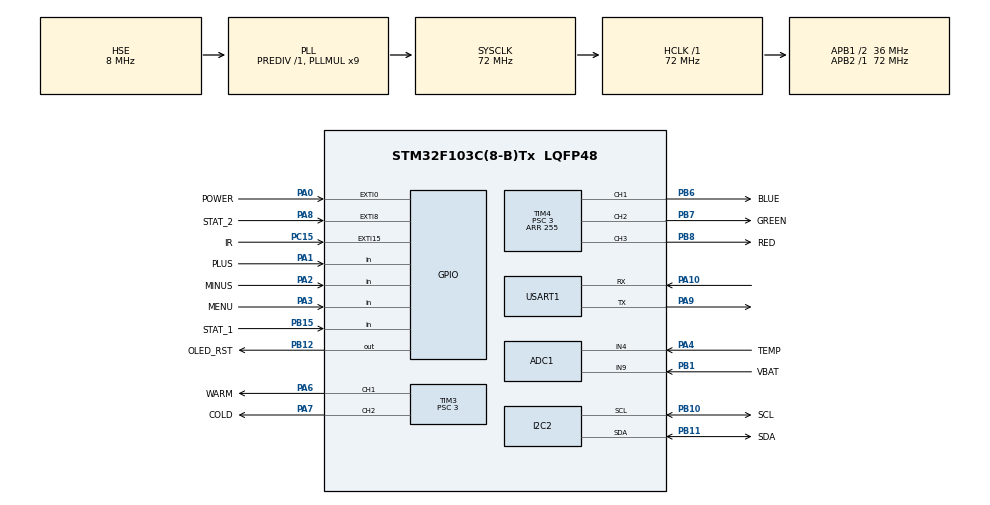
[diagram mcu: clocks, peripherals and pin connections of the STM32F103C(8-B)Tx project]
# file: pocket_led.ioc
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ADC1.Channel-0\#ChannelRegularConversion=ADC_CHANNEL_4
ADC1.Channel-1\#ChannelRegularConversion=ADC_CHANNEL_9
ADC1.DiscontinuousConvMode=ENABLE
ADC1.NbrOfConversion=2
ADC1.NbrOfConversionFlag=1
ADC1.Rank-0\#ChannelRegularConversion=1
ADC1.Rank-1\#ChannelRegularConversion=2
ADC1.SamplingTime-0\#ChannelRegularConversion=ADC_SAMPLETIME_13CYCLES_5
ADC1.SamplingTime-1\#ChannelRegularConversion=ADC_SAMPLETIME_13CYCLES_5
ADC1.master=1
FREERTOS.Queues01=irQueue,64,uint16_t,0,Dynamic,NULL,NULL;keyQueue,16,uint32_t,0,Dynamic,NULL,NULL
FREERTOS.Tasks01=defaultTask,-3,64,StartDefaultTask,Default,NULL,Dynamic,NULL,NULL;secnTask,-2,128,secn_task,Default,NULL,Dynamic,NULL,NULL;dispTask,2,256,dispaly_task,Default,NULL,Dynamic,NULL,NULL;batteryTask,-2,64,battery_task,Default,NULL,Dynamic,NULL,NULL
FREERTOS.Timers01=keyTimer,key_timer_callback,osTimerPeriodic,Default,NULL,Dynamic,NULL;irTimer,ir_timer_callback,osTimerPeriodic,Default,NULL,Dynamic,NULL;goSleepTimer,go_sleep_callback,osTimerOnce,Default,NULL,Dynamic,NULL
FREERTOS.configMINIMAL_STACK_SIZE=64
FREERTOS.configTIMER_TASK_STACK_DEPTH=64
FREERTOS.configTOTAL_HEAP_SIZE=10240
FREERTOS.configUSE_TICKLESS_IDLE=0
FREERTOS.configUSE_TIMERS=1
I2C2.I2C_Mode=I2C_Fast
Mcu.Family=STM32F1
Mcu.Name=STM32F103C(8-B)Tx
Mcu.Package=LQFP48
NVIC.EXTI0_IRQn=true\:5\:0\:false\:false\:true\:true\:true
NVIC.EXTI15_10_IRQn=true\:5\:0\:false\:false\:true\:true\:true
NVIC.PriorityGroup=NVIC_PRIORITYGROUP_4
NVIC.TIM1_UP_IRQn=true\:0\:0\:false\:false\:true\:false\:false
NVIC.TimeBase=TIM1_UP_IRQn
NVIC.TimeBaseIP=TIM1
PA0-WKUP.GPIO_Label=POWER
PA0-WKUP.GPIO_ModeDefaultEXTI=GPIO_MODE_IT_FALLING
PA0-WKUP.Signal=GPXTI0
PA1.GPIO_Label=PLUS
PA1.Signal=GPIO_Input
PA10.Mode=Asynchronous
PA10.Signal=USART1_RX
PA13.Mode=Serial_Wire
PA13.Signal=SYS_JTMS-SWDIO
PA14.Mode=Serial_Wire
PA14.Signal=SYS_JTCK-SWCLK
PA2.GPIO_Label=MINUS
PA2.Signal=GPIO_Input
PA3.GPIO_Label=MENU
PA3.Signal=GPIO_Input
PA4.GPIO_Label=TEMP
PA4.Signal=ADCx_IN4
PA6.GPIO_Label=WARM
PA6.Signal=S_TIM3_CH1
PA7.GPIO_Label=COLD
PA7.Signal=S_TIM3_CH2
PA8.GPIO_Label=STAT_2
PA8.GPIO_ModeDefaultEXTI=GPIO_MODE_IT_FALLING
PA8.Signal=GPXTI8
PA9.Mode=Asynchronous
PA9.Signal=USART1_TX
PB1.GPIO_Label=VBAT
PB1.Signal=ADCx_IN9
PB10.GPIO_Label=SCL
PB10.Mode=I2C
PB10.Signal=I2C2_SCL
PB11.GPIO_Label=SDA
PB11.Mode=I2C
PB11.Signal=I2C2_SDA
PB12.GPIO_Label=OLED_RST
PB12.GPIO_Speed=GPIO_SPEED_FREQ_LOW
PB12.PinState=GPIO_PIN_SET
PB12.Signal=GPIO_Output
PB15.GPIO_Label=STAT_1
PB15.Signal=GPIO_Input
PB6.GPIO_Label=BLUE
PB6.Signal=S_TIM4_CH1
PB7.GPIO_Label=GREEN
PB7.Signal=S_TIM4_CH2
PB8.GPIO_Label=RED
PB8.Signal=S_TIM4_CH3
PC15-OSC32_OUT.GPIO_Label=IR
PC15-OSC32_OUT.GPIO_ModeDefaultEXTI=GPIO_MODE_IT_RISING_FALLING
PC15-OSC32_OUT.Signal=GPXTI15
PD0-OSC_IN.Mode=HSE-External-Oscillator
PD0-OSC_IN.Signal=RCC_OSC_IN
PD1-OSC_OUT.Mode=HSE-External-Oscillator
PD1-OSC_OUT.Signal=RCC_OSC_OUT
ProjectManager.HeapSize=0x200
ProjectManager.StackSize=0x400
ProjectManager.TargetToolchain=MDK-ARM V5
RCC.ADCPresc=RCC_ADCPCLK2_DIV6
RCC.AHBFreq_Value=72000000
RCC.APB1CLKDivider=RCC_HCLK_DIV2
RCC.APB1Freq_Value=36000000
RCC.APB1TimFreq_Value=72000000
RCC.APB2Freq_Value=72000000
RCC.APB2TimFreq_Value=72000000
RCC.HCLKFreq_Value=72000000
RCC.PLLMUL=RCC_PLL_MUL9
RCC.PLLSourceVirtual=RCC_PLLSOURCE_HSE
RCC.SYSCLKFreq_VALUE=72000000
RCC.SYSCLKSource=RCC_SYSCLKSOURCE_PLLCLK
RCC.USBFreq_Value=72000000
SH.ADCx_IN4.0=ADC1_IN4,IN4
SH.ADCx_IN9.0=ADC1_IN9,IN9
SH.S_TIM3_CH1.0=TIM3_CH1,PWM Generation1 CH1
SH.S_TIM3_CH2.0=TIM3_CH2,PWM Generation2 CH2
SH.S_TIM4_CH1.0=TIM4_CH1,PWM Generation1 CH1
SH.S_TIM4_CH2.0=TIM4_CH2,PWM Generation2 CH2
SH.S_TIM4_CH3.0=TIM4_CH3,PWM Generation3 CH3
TIM2.Period=65535
TIM2.Prescaler=71
TIM3.Channel-PWM\ Generation1\ CH1=TIM_CHANNEL_1
TIM3.Channel-PWM\ Generation2\ CH2=TIM_CHANNEL_2
TIM3.Period=255
TIM3.Prescaler=3
TIM4.Channel-PWM\ Generation1\ CH1=TIM_CHANNEL_1
TIM4.Channel-PWM\ Generation2\ CH2=TIM_CHANNEL_2
TIM4.Channel-PWM\ Generation3\ CH3=TIM_CHANNEL_3
TIM4.Period=255
TIM4.Prescaler=3
USART1.VirtualMode=VM_ASYNC
VP_FREERTOS_VS_ENABLE.Mode=Enabled
VP_SYS_VS_tim1.Mode=TIM1
VP_TIM2_VS_ClockSourceINT.Mode=Internal
VP_TIM3_VS_ClockSourceINT.Mode=Internal
VP_TIM4_VS_ClockSourceINT.Mode=Internal
board=custom

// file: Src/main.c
/**
  ******************************************************************************
  * @file           : main.c
  * @brief          : Main program body
  ******************************************************************************
  * This notice applies to any and all portions of this file
  * that are not between comment pairs USER CODE BEGIN and
  * USER CODE END. Other portions of this file, whether
  * inserted by the user or by software development tools
  * are owned by their respective copyright owners.
  *
  * Copyright (c) 2020 STMicroelectronics International N.V.
  * All rights reserved.
  *
  * Redistribution and use in source and binary forms, with or without
  * modification, are permitted, provided that the following conditions are met:
  *
  * 1. Redistribution of source code must retain the above copyright notice,
  *    this list of conditions and the following disclaimer.
  * 2. Redistributions in binary form must reproduce the above copyright notice,
  *    this list of conditions and the following disclaimer in the documentation
  *    and/or other materials provided with the distribution.
  * 3. Neither the name of STMicroelectronics nor the names of other
  *    contributors to this software may be used to endorse or promote products
  *    derived from this software without specific written permission.
  * 4. This software, including modifications and/or derivative works of this
  *    software, must execute solely and exclusively on microcontroller or
  *    microprocessor devices manufactured by or for STMicroelectronics.
  * 5. Redistribution and use of this software other than as permitted under
  *    this license is void and will automatically terminate your rights under
  *    this license.
  *
  * THIS SOFTWARE IS PROVIDED BY STMICROELECTRONICS AND CONTRIBUTORS "AS IS"
  * AND ANY EXPRESS, IMPLIED OR STATUTORY WARRANTIES, INCLUDING, BUT NOT
  * LIMITED TO, THE IMPLIED WARRANTIES OF MERCHANTABILITY, FITNESS FOR A
  * PARTICULAR PURPOSE AND NON-INFRINGEMENT OF THIRD PARTY INTELLECTUAL PROPERTY
  * RIGHTS ARE DISCLAIMED TO THE FULLEST EXTENT PERMITTED BY LAW. IN NO EVENT
  * SHALL STMICROELECTRONICS OR CONTRIBUTORS BE LIABLE FOR ANY DIRECT, INDIRECT,
  * INCIDENTAL, SPECIAL, EXEMPLARY, OR CONSEQUENTIAL DAMAGES (INCLUDING, BUT NOT
  * LIMITED TO, PROCUREMENT OF SUBSTITUTE GOODS OR SERVICES; LOSS OF USE, DATA,
  * OR PROFITS; OR BUSINESS INTERRUPTION) HOWEVER CAUSED AND ON ANY THEORY OF
  * LIABILITY, WHETHER IN CONTRACT, STRICT LIABILITY, OR TORT (INCLUDING
  * NEGLIGENCE OR OTHERWISE) ARISING IN ANY WAY OUT OF THE USE OF THIS SOFTWARE,
  * EVEN IF ADVISED OF THE POSSIBILITY OF SUCH DAMAGE.
  *
  ******************************************************************************
  */
#include "main.h"
#include "stm32f1xx_hal.h"
#include "cmsis_os.h"
#include "adc.h"
#include "i2c.h"
#include "tim.h"
#include "usart.h"
#include "gpio.h"

/* USER CODE BEGIN Includes */
#include "includes.h"
/* USER CODE END Includes */

/* USER CODE BEGIN PV */
/* Private variables ---------------------------------------------------------*/

/* USER CODE END PV */

void SystemClock_Config(void);
void MX_FREERTOS_Init(void);

/* USER CODE BEGIN PFP */
/* Private function prototypes -----------------------------------------------*/

/* USER CODE END PFP */

int main(void)
{

  /* MCU Configuration----------------------------------------------------------*/

  /* Reset of all peripherals, Initializes the Flash interface and the Systick. */
  HAL_Init();

  /* Configure the system clock */
  SystemClock_Config();

  /* Initialize all configured peripherals */
  MX_GPIO_Init();
  MX_ADC1_Init();
  MX_TIM3_Init();
  MX_TIM4_Init();
  MX_I2C2_Init();
  MX_USART1_UART_Init();
  MX_TIM2_Init();
  /* USER CODE BEGIN 2 */
  sys_stop_mode_enable();
  /* USER CODE END 2 */

  /* Call init function for freertos objects (in freertos.c) */
  MX_FREERTOS_Init();

  /* Start scheduler */
  osKernelStart();

  /* We should never get here as control is now taken by the scheduler */

  /* Infinite loop */
  while (1)
  {

  }

}

void SystemClock_Config(void)
{

  RCC_OscInitTypeDef RCC_OscInitStruct;
  RCC_ClkInitTypeDef RCC_ClkInitStruct;
  RCC_PeriphCLKInitTypeDef PeriphClkInit;

    /**Initializes the CPU, AHB and APB busses clocks
    */
  RCC_OscInitStruct.OscillatorType = RCC_OSCILLATORTYPE_HSE;
  RCC_OscInitStruct.HSEState = RCC_HSE_ON;
  RCC_OscInitStruct.HSEPredivValue = RCC_HSE_PREDIV_DIV1;
  RCC_OscInitStruct.HSIState = RCC_HSI_ON;
  RCC_OscInitStruct.PLL.PLLState = RCC_PLL_ON;
  RCC_OscInitStruct.PLL.PLLSource = RCC_PLLSOURCE_HSE;
  RCC_OscInitStruct.PLL.PLLMUL = RCC_PLL_MUL9;
  if (HAL_RCC_OscConfig(&RCC_OscInitStruct) != HAL_OK)
  {
    _Error_Handler(__FILE__, __LINE__);
  }

    /**Initializes the CPU, AHB and APB busses clocks
    */
  RCC_ClkInitStruct.ClockType = RCC_CLOCKTYPE_HCLK|RCC_CLOCKTYPE_SYSCLK
                              |RCC_CLOCKTYPE_PCLK1|RCC_CLOCKTYPE_PCLK2;
  RCC_ClkInitStruct.SYSCLKSource = RCC_SYSCLKSOURCE_PLLCLK;
  RCC_ClkInitStruct.AHBCLKDivider = RCC_SYSCLK_DIV1;
  RCC_ClkInitStruct.APB1CLKDivider = RCC_HCLK_DIV2;
  RCC_ClkInitStruct.APB2CLKDivider = RCC_HCLK_DIV1;

  if (HAL_RCC_ClockConfig(&RCC_ClkInitStruct, FLASH_LATENCY_2) != HAL_OK)
  {
    _Error_Handler(__FILE__, __LINE__);
  }

  PeriphClkInit.PeriphClockSelection = RCC_PERIPHCLK_ADC;
  PeriphClkInit.AdcClockSelection = RCC_ADCPCLK2_DIV6;
  if (HAL_RCCEx_PeriphCLKConfig(&PeriphClkInit) != HAL_OK)
  {
    _Error_Handler(__FILE__, __LINE__);
  }

    /**Configure the Systick interrupt time
    */
  HAL_SYSTICK_Config(HAL_RCC_GetHCLKFreq()/1000);

    /**Configure the Systick
    */
  HAL_SYSTICK_CLKSourceConfig(SYSTICK_CLKSOURCE_HCLK);

  /* SysTick_IRQn interrupt configuration */
  HAL_NVIC_SetPriority(SysTick_IRQn, 15, 0);
}

/* USER CODE BEGIN 4 */
void HAL_GPIO_EXTI_Callback(uint16_t GPIO_Pin)
{
    if (IR_Pin == GPIO_Pin && false == is_sys_in_stop_mode() ) {
        ir_read_data();
    }

    if ((POWER_Pin == GPIO_Pin || STAT_1_Pin == GPIO_Pin || STAT_2_Pin == GPIO_Pin)
      && true == is_sys_in_stop_mode()) {
        sys_stop_mode_disable();
    }
}

/* USER CODE END 4 */

void HAL_TIM_PeriodElapsedCallback(TIM_HandleTypeDef *htim)
{
  if (htim->Instance == TIM1) {
    HAL_IncTick();
  }
}

void _Error_Handler(char *file, int line)
{
  while(1)
  {
  }
}

/************************ (C) COPYRIGHT STMicroelectronics *****END OF FILE****/

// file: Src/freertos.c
/* USER CODE BEGIN Header */
/**
  ******************************************************************************
  * File Name          : freertos.c
  * Description        : Code for freertos applications
  ******************************************************************************
  * This notice applies to any and all portions of this file
  * that are not between comment pairs USER CODE BEGIN and
  * USER CODE END. Other portions of this file, whether
  * inserted by the user or by software development tools
  * are owned by their respective copyright owners.
  *
  * Copyright (c) 2020 STMicroelectronics International N.V.
  * All rights reserved.
  *
  * Redistribution and use in source and binary forms, with or without
  * modification, are permitted, provided that the following conditions are met:
  *
  * 1. Redistribution of source code must retain the above copyright notice,
  *    this list of conditions and the following disclaimer.
  * 2. Redistributions in binary form must reproduce the above copyright notice,
  *    this list of conditions and the following disclaimer in the documentation
  *    and/or other materials provided with the distribution.
  * 3. Neither the name of STMicroelectronics nor the names of other
  *    contributors to this software may be used to endorse or promote products
  *    derived from this software without specific written permission.
  * 4. This software, including modifications and/or derivative works of this
  *    software, must execute solely and exclusively on microcontroller or
  *    microprocessor devices manufactured by or for STMicroelectronics.
  * 5. Redistribution and use of this software other than as permitted under
  *    this license is void and will automatically terminate your rights under
  *    this license.
  *
  * THIS SOFTWARE IS PROVIDED BY STMICROELECTRONICS AND CONTRIBUTORS "AS IS"
  * AND ANY EXPRESS, IMPLIED OR STATUTORY WARRANTIES, INCLUDING, BUT NOT
  * LIMITED TO, THE IMPLIED WARRANTIES OF MERCHANTABILITY, FITNESS FOR A
  * PARTICULAR PURPOSE AND NON-INFRINGEMENT OF THIRD PARTY INTELLECTUAL PROPERTY
  * RIGHTS ARE DISCLAIMED TO THE FULLEST EXTENT PERMITTED BY LAW. IN NO EVENT
  * SHALL STMICROELECTRONICS OR CONTRIBUTORS BE LIABLE FOR ANY DIRECT, INDIRECT,
  * INCIDENTAL, SPECIAL, EXEMPLARY, OR CONSEQUENTIAL DAMAGES (INCLUDING, BUT NOT
  * LIMITED TO, PROCUREMENT OF SUBSTITUTE GOODS OR SERVICES; LOSS OF USE, DATA,
  * OR PROFITS; OR BUSINESS INTERRUPTION) HOWEVER CAUSED AND ON ANY THEORY OF
  * LIABILITY, WHETHER IN CONTRACT, STRICT LIABILITY, OR TORT (INCLUDING
  * NEGLIGENCE OR OTHERWISE) ARISING IN ANY WAY OUT OF THE USE OF THIS SOFTWARE,
  * EVEN IF ADVISED OF THE POSSIBILITY OF SUCH DAMAGE.
  *
  ******************************************************************************
  */
/* USER CODE END Header */

#include "FreeRTOS.h"
#include "task.h"
#include "main.h"
#include "cmsis_os.h"

/* USER CODE BEGIN Includes */
#include "includes.h"
/* USER CODE END Includes */

/* USER CODE BEGIN Variables */
osMessageQId batteryQueueHandle;
osMessageQId ircmdQueueHandle;
osMessageQId secnQueueHandle;
osMailQId batteryMailHandle;
/* USER CODE END Variables */
osThreadId defaultTaskHandle;
osThreadId secnTaskHandle;
osThreadId dispTaskHandle;
osThreadId batteryTaskHandle;
osMessageQId irQueueHandle;
osMessageQId keyQueueHandle;
osTimerId keyTimerHandle;
osTimerId irTimerHandle;
osTimerId goSleepTimerHandle;

void StartDefaultTask(void const * argument);
void secn_task(void const * argument);
void dispaly_task(void const * argument);
void battery_task(void const * argument);
void key_timer_callback(void const * argument);
void ir_timer_callback(void const * argument);
void go_sleep_callback(void const * argument);

void MX_FREERTOS_Init(void); /* (MISRA C 2004 rule 8.1) */

void MX_FREERTOS_Init(void) {

  /* Create the timer(s) */
  /* definition and creation of keyTimer */
  osTimerDef(keyTimer, key_timer_callback);
  keyTimerHandle = osTimerCreate(osTimer(keyTimer), osTimerPeriodic, NULL);

  /* definition and creation of irTimer */
  osTimerDef(irTimer, ir_timer_callback);
  irTimerHandle = osTimerCreate(osTimer(irTimer), osTimerPeriodic, NULL);

  /* definition and creation of goSleepTimer */
  osTimerDef(goSleepTimer, go_sleep_callback);
  goSleepTimerHandle = osTimerCreate(osTimer(goSleepTimer), osTimerOnce, NULL);

  /* Create the thread(s) */
  /* definition and creation of defaultTask */
  osThreadDef(defaultTask, StartDefaultTask, osPriorityIdle, 0, 64);
  defaultTaskHandle = osThreadCreate(osThread(defaultTask), NULL);

  /* definition and creation of secnTask */
  osThreadDef(secnTask, secn_task, osPriorityLow, 0, 128);
  secnTaskHandle = osThreadCreate(osThread(secnTask), NULL);

  /* definition and creation of dispTask */
  osThreadDef(dispTask, dispaly_task, osPriorityHigh, 0, 256);
  dispTaskHandle = osThreadCreate(osThread(dispTask), NULL);

  /* definition and creation of batteryTask */
  osThreadDef(batteryTask, battery_task, osPriorityLow, 0, 64);
  batteryTaskHandle = osThreadCreate(osThread(batteryTask), NULL);

  /* Create the queue(s) */
  /* definition and creation of irQueue */
/* what about the sizeof here??? cd native code */
  osMessageQDef(irQueue, 64, uint16_t);
  irQueueHandle = osMessageCreate(osMessageQ(irQueue), NULL);

  /* definition and creation of keyQueue */
/* what about the sizeof here??? cd native code */
  osMessageQDef(keyQueue, 16, uint32_t);
  keyQueueHandle = osMessageCreate(osMessageQ(keyQueue), NULL);

  /* USER CODE BEGIN RTOS_QUEUES */

  osMessageQDef(batteryQueue, 8, uint8_t);
  batteryQueueHandle = osMessageCreate(osMessageQ(batteryQueue), NULL);

  osMessageQDef(ircmdQueue, 32, uint8_t);
  ircmdQueueHandle = osMessageCreate(osMessageQ(ircmdQueue), NULL);

  osMessageQDef(secnQueue, 8, enum SCENES_SELECT);
  secnQueueHandle = osMessageCreate(osMessageQ(secnQueue), NULL);

  osMailQDef(batteryMail, 2, struct batter_status);
  batteryMailHandle = osMailCreate(osMailQ(batteryMail), NULL);

  /* add queues, ... */
  /* USER CODE END RTOS_QUEUES */
}

void StartDefaultTask(void const * argument)
{

  /* USER CODE BEGIN StartDefaultTask */
  uint32_t auto_shutdown = 1800; /* 30min */
  bool led_onoff = false;
  bool bat_charge = false;
  sys_show_info();
  osTimerStart(goSleepTimerHandle, 10000);
  /* Infinite loop */
  for(;;)
  {
      led_onoff = led_output_onoff();
      bat_charge = battery_charging() | battery_charging_complete();
      if (false == led_onoff && false == bat_charge) {
          if (auto_shutdown-- == 0) {
              sys_reset();
              printf("auto shutdown\r\n");
          }
      } else {
          auto_shutdown = 1800;
      }
      osDelay(1000);
  }
  /* USER CODE END StartDefaultTask */
}

void secn_task(void const * argument)
{
  /* USER CODE BEGIN secn_task */
  osEvent msg;
  enum SCENES_SELECT SCENES = NONE;
  bool scenes_off = false;
  /* Infinite loop */
  for(;;)
  {
    msg = osMessageGet(secnQueueHandle, 0);
    if (msg.status == osEventMessage) {
        SCENES = msg.value.v;
    }
    if (SCENES != NONE) {
        led_scen(SCENES);
        scenes_off = false;
    } else {
        if (scenes_off == false) {
            scenes_off = true;
            led_scen(SCENES);
      }
    }
    osDelay(1);
  }
  /* USER CODE END secn_task */
}

void dispaly_task(void const * argument)
{
  /* USER CODE BEGIN dispaly_task */
  osEvent msg;
  uint8_t key_p_m_long_sta = 0;
  uint32_t delay_tmp = 0;
  const uint8_t long_press_delay = 10; /* ms */
  static struct page_info pg_info;
  struct batter_status *bat_stat;
  osTimerStart(keyTimerHandle, KEY_DELAY_MS);
  ir_recv_deinit();
  ssd1306_init();
  disp_led_value_init(&pg_info);
  disp_update(&pg_info);

  /* Infinite loop */
  for(;;)
  {
    /* button press */
    msg = osMessageGet(keyQueueHandle, 0);
    if (msg.status == osEventMessage) {
        key_p_m_long_sta = key_process(&pg_info, msg.value.v);
        disp_update(&pg_info);
    }

    /* battery info */
    msg = osMailGet(batteryMailHandle, 0);
    if (msg.status == osEventMail) {
        bat_stat = msg.value.p;
        battery_process(&pg_info, bat_stat);
        disp_update(&pg_info);
        osMailFree(batteryMailHandle, bat_stat);
    }

    /* ir cmd */
    msg = osMessageGet(ircmdQueueHandle, 0);
    if (msg.status == osEventMessage) {
        printf("ir cmd: %#x\r\n", msg.value.v);
        ir_cmd_process(msg.value.v, &pg_info);
        disp_update(&pg_info);
    }

    /* deal with key long press(plus and minus button) */
    if ((delay_tmp++)%long_press_delay == 0 && key_p_m_long_sta != 0) {
        if (key_p_m_long_sta == KEY_PLUS_LONG_PRESS) {
            key_process(&pg_info, KEY_SHORT_PRESS<<(KEY_PLUS*4));
        } else if (key_p_m_long_sta == KEY_MINUS_LONG_PRESS) {
            key_process(&pg_info, KEY_SHORT_PRESS<<(KEY_MINUS*4));
        }
        disp_update(&pg_info);
    }

    osDelay(1);
  }
  /* USER CODE END dispaly_task */
}

void battery_task(void const * argument)
{
  /* USER CODE BEGIN battery_task */
  /* Infinite loop */
  for(;;)
  {
      bettery_status_check();
      osDelay(1000);
  }
  /* USER CODE END battery_task */
}

/* key_timer_callback function */
void key_timer_callback(void const * argument)
{
  /* USER CODE BEGIN key_timer_callback */
  key_poll();
  /* USER CODE END key_timer_callback */
}

/* ir_timer_callback function */
void ir_timer_callback(void const * argument)
{
  /* USER CODE BEGIN ir_timer_callback */
  ir_timer_callback_func();
  /* USER CODE END ir_timer_callback */
}

/* go_sleep_callback function */
void go_sleep_callback(void const * argument)
{
  /* USER CODE BEGIN go_sleep_callback */
  sys_reset();
  /* USER CODE END go_sleep_callback */
}

/************************ (C) COPYRIGHT STMicroelectronics *****END OF FILE****/
